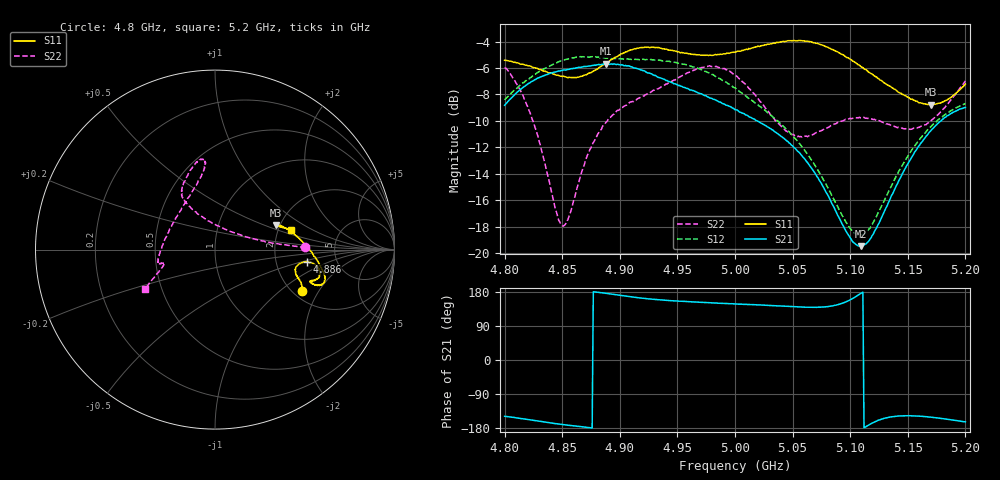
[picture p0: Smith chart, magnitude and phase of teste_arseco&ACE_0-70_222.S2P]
! Network Analyzer HP8722D
! Hewlett-Packard
! Data name: Linha & Wilkinson
! Saver's name: Rodrigo Anjos
! Comments: Teste da utilização de aquisição
! continua pelo VNA HP8722D
! Time and date: 8/5/2025 14:36
!  Frequency  S11  S21  S12  S22
# HZ  S  MA R 50
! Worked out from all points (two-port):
!   401 points, 4.8 GHz to 5.2 GHz, reference 50 ohm
!   highest |S21| = -5.67 dB at 4.888 GHz (marker M1); lowest = -19.5 dB at 5.109 GHz (marker M2)
!   |S21| within 3 dB of the highest: 4.802 GHz to 4.989 GHz (187.2 MHz wide, 3.82 % of centre)
!   lowest |S11| = -8.8 dB at 5.17 GHz (marker M3), VSWR 2.15, Z = 94.7 + j30.1 ohm
!   |S11| at or under -10 dB: nowhere
!   |S22| runs from -18.0 to -5.8 dB; largest |S21 - S12| = 1.1
!   S11 on the Smith chart (normalised r, x): 4.8 GHz: 2.24, -1.44; 4.886 GHz: 3.02, -0.55; 5.2 GHz: 2.33, +0.64
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4.8e9  0.5358 -25.3  0.3621 -148.5  0.38 10.8  0.5029 1.6
4.812e9  0.5234 -22.3  0.4097 -153.4  0.4263 8.9  0.4251 2.7
4.823e9  0.5083 -20.5  0.4442 -158.3  0.4622 7.6  0.3308 6.1
4.849e9  0.4668 -16.0  0.4902 -169.7  0.5333 3.2  0.1283 58.2
4.855e9  0.4601 -14.3  0.4949 -172.1  0.5423 2.5  0.1341 84.5
4.867e9  0.4659 -11.2  0.5048 -176.3  0.5519 0.8  0.2031 112.8
4.886e9  0.5158 -7.5  0.5187 176.7  0.5474 -0.7  0.3053 121.9
4.888e9  0.521 -7.5  0.5208 175.9  0.5457 -0.6  0.312 121.6
4.911e9  0.5879 -10.5  0.505 166.3  0.5407 -0.3  0.3745 120.0
4.934e9  0.5989 -15.4  0.4611 158.7  0.5368 -1.2  0.4199 113.2
4.976e9  0.5612 -18.3  0.39 151.6  0.4826 -4.9  0.5078 99.3
5e9  0.5754 -19.2  0.3484 147.9  0.4216 -5.0  0.4727 97.2
5.015e9  0.597 -19.3  0.3234 146.2  0.3765 -3.0  0.406 101.8
5.045e9  0.6335 -17.2  0.2656 141.6  0.2931 3.3  0.289 132.6
5.067e9  0.6274 -13.3  0.2079 139.1  0.2232 9.5  0.28 164.6
5.098e9  0.5479 -2.9  0.118 155.8  0.1273 36.7  0.3205 -170.4
5.109e9  0.5081 2.1  0.1063 175.0  0.117 58.4  0.3247 -167.1
5.118e9  0.4776 6.7  0.1141 -168.2  0.1264 76.0  0.3216 -165.9
5.134e9  0.4283 14.4  0.1578 -150.9  0.1734 94.7  0.3065 -165.6
5.152e9  0.3835 20.5  0.2252 -147.1  0.2397 101.6  0.2938 -164.4
5.17e9  0.3646 22.2  0.2902 -150.9  0.3006 102.7  0.3165 -160.7
5.2e9  0.4356 14.9  0.3554 -163.3  0.3679 103.1  0.4474 -150.5
